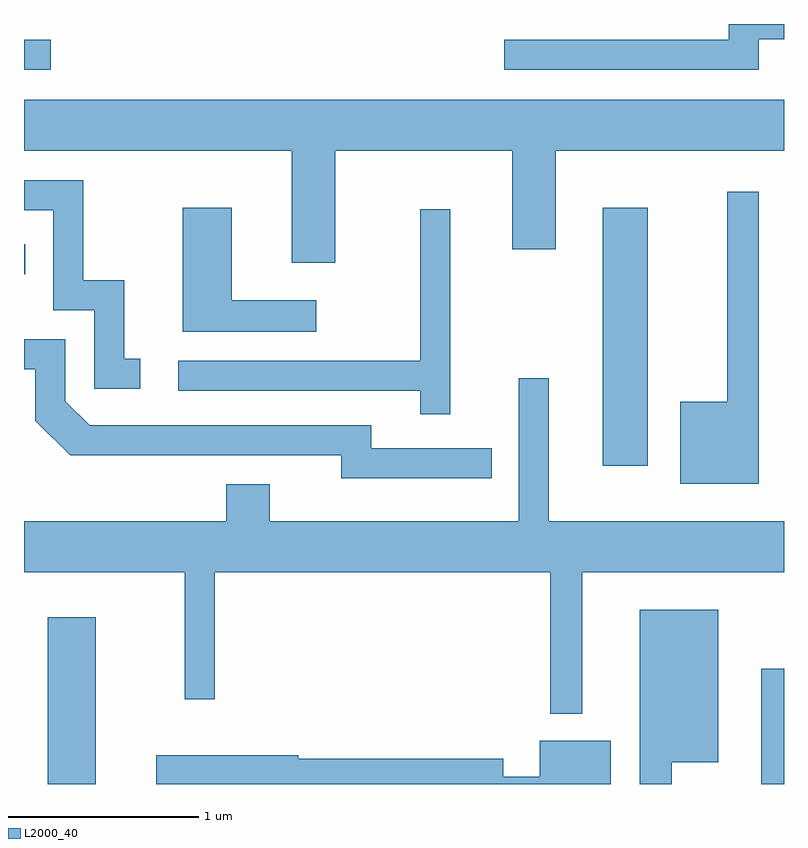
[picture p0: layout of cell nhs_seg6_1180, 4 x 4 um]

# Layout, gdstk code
import gdstk
lib = gdstk.Library(unit=1e-6, precision=1e-09)
def R(c, l, rs):  # rectangles x0, y0, x1, y1
    for r in rs: c.add(gdstk.rectangle(r[:2], r[2:], *l))
def P(c, l, *ps):  # polygons
    for p in ps: c.add(gdstk.Polygon(p, *l))
L2000_40 = (2000, 40)

nhs_seg6_1180 = lib.new_cell('nhs_seg6_1180')
R(nhs_seg6_1180, L2000_40, [(219.736,1642.162,219.989,1643.039), (223.491,1642.162,223.611,1642.769), (222.656,1643.836,222.894,1645.194), (219.611,1644.846,219.618,1645.004), (219.611,1645.921,219.753,1646.079)])
P(nhs_seg6_1180, L2000_40, [(223.479,1646.081),(223.611,1646.081),(223.611,1646.162),(223.321,1646.162),(223.321,1646.079),(222.138,1646.079),(222.138,1645.921),(223.479,1645.921)],
  [(221.249,1645.496),(222.181,1645.496),(222.181,1644.976),(222.409,1644.976),(222.409,1645.496),(223.611,1645.496),(223.611,1645.764),(219.611,1645.764),(219.611,1645.496),(221.021,1645.496),(221.021,1644.906),(221.249,1644.906)],
  [(220.223,1644.399),(220.139,1644.399),(220.139,1644.814),(219.924,1644.814),(219.924,1645.339),(219.611,1645.339),(219.611,1645.181),(219.766,1645.181),(219.766,1644.656),(219.981,1644.656),(219.981,1644.241),(220.223,1644.241)],
  [(223.479,1645.278),(223.311,1645.278),(223.311,1644.174),(223.066,1644.174),(223.066,1643.741),(223.479,1643.741)],
  [(221.148,1644.709),(220.704,1644.709),(220.704,1645.194),(220.446,1645.194),(220.446,1644.541),(221.148,1644.541)],
  [(221.854,1645.188),(221.696,1645.188),(221.696,1644.389),(220.423,1644.389),(220.423,1644.231),(221.696,1644.231),(221.696,1644.108),(221.854,1644.108)],
  [(222.073,1643.929),(221.439,1643.929),(221.439,1644.049),(219.957,1644.049),(219.829,1644.177),(219.829,1644.504),(219.611,1644.504),(219.611,1644.346),(219.671,1644.346),(219.671,1644.074),(219.854,1643.891),(221.281,1643.891),(221.281,1643.771),(222.073,1643.771)],
  [(222.549,1643.276),(223.611,1643.276),(223.611,1643.544),(222.374,1643.544),(222.374,1644.298),(222.216,1644.298),(222.216,1643.544),(220.904,1643.544),(220.904,1643.739),(220.676,1643.739),(220.676,1643.544),(219.611,1643.544),(219.611,1643.276),(220.456,1643.276),(220.456,1642.608),(220.614,1642.608),(220.614,1643.276),(222.381,1643.276),(222.381,1642.533),(222.549,1642.533)],
  [(223.019,1642.276),(223.264,1642.276),(223.264,1643.079),(222.851,1643.079),(222.851,1642.162),(223.019,1642.162)],
  [(222.699,1642.389),(222.326,1642.389),(222.326,1642.199),(222.134,1642.199),(222.134,1642.294),(221.054,1642.294),(221.054,1642.314),(220.306,1642.314),(220.306,1642.162),(222.699,1642.162)])

lib.write_gds('nhs_seg6_1180.gds')
